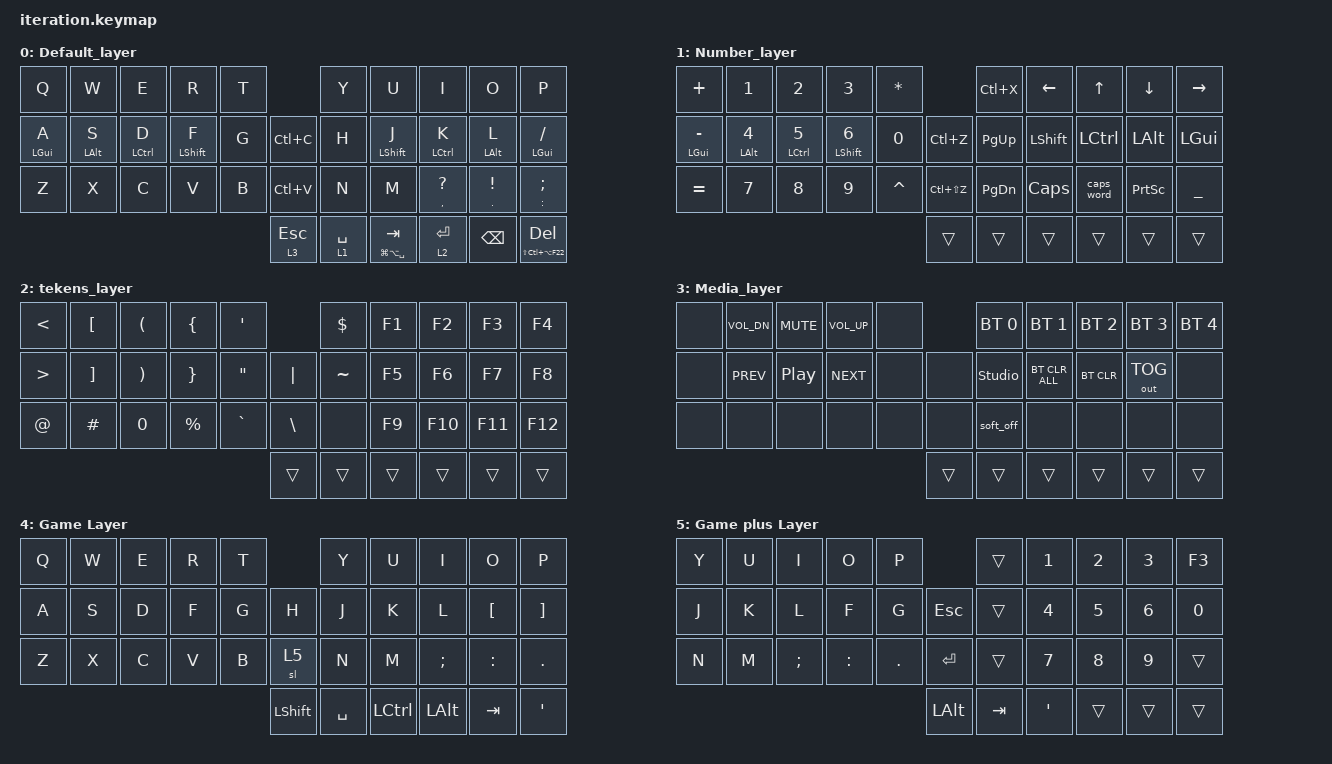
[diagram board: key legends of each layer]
#include <behaviors.dtsi>
#include <dt-bindings/zmk/bt.h>
#include <dt-bindings/zmk/keys.h>
#include <dt-bindings/zmk/outputs.h>

&lt {
    quick-tap-ms = <250>;
    flavor = "tap-preferred";
};

&mt {
    flavor = "tap-preferred";
    quick-tap-ms = <250>;
};

/ {
    combos {
        compatible = "zmk,combos";

        combo_togg_game {
            timeout-ms = <50>;
            key-positions = <35 36 37>;
            bindings = <&tog 4>;
            layers = <0 4>;
        };
    };

    keymap {
        compatible = "zmk,keymap";

        Default_layer {
            display-name = "Default_layer";

            // 
            //    | Pinky | Ring  | Middle    | Index   | Inner | screen |                                    | Inner | Index   | Middle    | Ring  | Pinky   |
            //    | ----- | ----- | --------- | ------- | ----- | ------ |                                    | ----- | ------- | --------- | ----- | ------- |
            //    | q     | w     | e         | r       | t     |        |                                    | y     | u       | i         | o     | p       |
            //    | a/gui | s/alt | d/control | f/shift | g     | copy   |                                    | h     | j/shift | k/control | l/alt | "/"/gui |
            //    | z     | x     | c         | v       | b     | paste  |                                    | n     | m       | ,/?       | ./!   | :/;     |
            //                 | Near            | Middle          | Far |                     | Far          | Middle    | Near       |
            //                 | Esc/Media layer | Space/Num layer | Tab/command |             | enter/tekens | Backspace | Del/magic  |

            bindings = <
&kp Q       &kp W       &kp E        &kp R        &kp T                                                                                                              &kp Y  &kp U        &kp I            &kp O            &kp P
&mt LGUI A  &mt LALT S  &mt LCTRL D  &mt LSHFT F  &kp G  &kp LC(C)                                                                                                   &kp H  &mt LSHFT J  &mt LCTRL K      &mt LALT L       &mt LGUI SLASH
&kp Z       &kp X       &kp C        &kp V        &kp B  &kp LC(V)                                                                                                   &kp N  &kp M        &mt COMMA QMARK  &mt PERIOD EXCL  &mt COLON SEMI
                                                                    &lt 3 ESC  &lt 1 SPACE  &mt LG(LA(SPACE)) TAB  &lt 2 ENTER  &kp BSPC  &mt LS(LC(LA(F22))) DEL
            >;
        };

        Number_nav_layer {
            display-name = "Number_layer";

            // 
            //    | Pinky | Ring  | Middle    | Index   | Inner | screen |                                  | Inner  | Index   | Middle  | Ring  | Pinky |
            //    | ----- | ----- | --------- | ------- | ----- | ------ |                                  | ------ | ------- | ------- | ----- | ----- |
            //    | +     | 1     | 2         | 3       | *     |        |                                  | cut    | left    | up      | down  | right |
            //    | -/gui | 4/alt | 5/control | 6/shift | .     | undo   |                                  | pgup   | shift   | control | alt   | gui   |
            //    | =     | 7     | 8         | 9       | ^     | redo   |                                  | pgdown | C_lock  | C_word  |prtscrn| _     |
            //                 | Near            | Middle          | Far       |             | Far          | Middle    | Near      |
            //                 | Esc/Media layer | Space/Num layer | Tab/magic |             | enter/tekens | Backspace | Del/magic |

            bindings = <
&kp PLUS        &kp N1       &kp N2        &kp N3        &kp STAR                                                                  &kp LC(X)  &kp LEFT   &kp UP      &kp DOWN   &kp RIGHT
&mt LGUI MINUS  &mt LALT N4  &mt LCTRL N5  &mt LSHFT N6  &kp N0     &kp LC(Z)                                                      &kp PG_UP  &kp LSHFT  &kp LCTRL   &kp LALT   &kp LGUI
&kp EQUAL       &kp N7       &kp N8        &kp N9        &kp CARET  &kp LC(LS(Z))                                                  &kp PG_DN  &kp CAPS   &caps_word  &kp PSCRN  &kp UNDERSCORE
                                                                                   &trans  &trans  &trans  &trans  &trans  &trans
            >;
        };

        tekens_layer {
            display-name = "tekens_layer";

            // 
            //    | Pinky | Ring  | Middle | Index   | Inner | screen |                                   | Inner | Index   | Middle    | Ring  | Pinky   |
            //    | ----- | ----- | ------ | ------- | ----- | ------ |                                   | ----- | ------- | --------- | ----- | ------- |
            //    | <     | [     | (      | {       | '     |        |                                   |       | f1      | f2        | f3    | f4      |
            //    | >     | ]     | )      | }       | "     | |      |                                   | ~     | f5      | f6        | f7    | f8      |
            //    | @     | #     | $      | %       | `     | \      |                                   |       | f9      | f10       | f11   | f12     |
            //                 | Near            | Middle          | Far         |         | Far          | Middle    | Near       |
            //                 | Esc/Media layer | Space/Num layer | Tab/command |         | enter/tekens | Backspace | Del/magic  |

            bindings = <
&kp LT  &kp LBKT  &kp LPAR  &kp LBRC   &kp APOS                                                             &kp DOLLAR  &kp F1  &kp F2   &kp F3   &kp F4
&kp GT  &kp RBKT  &kp RPAR  &kp RBRC   &kp DQT    &kp PIPE                                                  &kp TILDE   &kp F5  &kp F6   &kp F7   &kp F8
&kp AT  &kp HASH  &kp N0    &kp PRCNT  &kp GRAVE  &kp BSLH                                                  &none       &kp F9  &kp F10  &kp F11  &kp F12
                                                            &trans  &trans  &trans  &trans  &trans  &trans
            >;
        };

        Media_layer {
            display-name = "Media_layer";

            // 
            //    | Pinky | Ring        | Middle     | Index     | Inner | screen |                                       | Inner      | Index      | Middle | Ring         | Pinky  |
            //    | ----- | -----       | ------     | -------   | ----- | ------ |                                       | ---------- | ---------- | ------ | ------------ | ------ |
            //    |       | volume down | mute       | volume up |       |        |                                       | Bt1        | Bt2        | Bt3    | Bt4          | Bt5    |
            //    |       | previous    | Play/pause | Next      |       |        |                                       | ZMK unlock | bt clr all | bt clr | Outpt toggle |        |
            //    |       |             |            |           |       |        |                                       | Soft_off   |            |        |              |        |
            //                                | Near            | Middle          | Far          |         | Far          | Middle    | Near       |
            //                                | Esc/Media layer | Space/Num layer | Tab//command |         | enter/tekens | Backspace | Del/magic  |

            bindings = <
&none  &kp C_VOL_DN  &kp C_MUTE  &kp C_VOL_UP  &none                                                         &bt BT_SEL 0    &bt BT_SEL 1    &bt BT_SEL 2  &bt BT_SEL 3  &bt BT_SEL 4
&none  &kp C_PREV    &kp C_PP    &kp C_NEXT    &none  &none                                                  &studio_unlock  &bt BT_CLR_ALL  &bt BT_CLR    &out OUT_TOG  &none
&none  &none         &none       &none         &none  &none                                                  &soft_off       &none           &none         &none         &none
                                                             &trans  &trans  &trans  &trans  &trans  &trans
            >;
        };

        Game_layer {
            display-name = "Game Layer";

            // 
            //    | Pinky | Ring  | Middle    | Index   | Inner | screen |                       | Inner | Index   | Middle    | Ring  | Pinky |
            //    | ----- | ----- | --------- | ------- | ----- | ------ |                       | ----- | ------- | --------- | ----- | ----- |
            //    | q     | w     | e         | r       | t     |        |                       | y     | u       | i         | o     | p     |
            //    | a     | s     | d         | f       | g     | h      |                       | j     | k       | l         | [     | ]     |
            //    | z     | x     | c         | v       | b     | Game+  |                       | n     | m       | ;         | :     | .     |
            //                                      | Near  | Middle | Far  |               | Far | Middle | Near |
            //                                      | shift |  Space | ctrl |               | alt | tab    | '    |

            bindings = <
&kp Q  &kp W  &kp E  &kp R  &kp T                                                                       &kp Y  &kp U  &kp I     &kp O      &kp P
&kp A  &kp S  &kp D  &kp F  &kp G  &kp H                                                                &kp J  &kp K  &kp L     &kp LBKT   &kp RBKT
&kp Z  &kp X  &kp C  &kp V  &kp B  &sl 5                                                                &kp N  &kp M  &kp SEMI  &kp COLON  &kp PERIOD
                                          &kp LSHFT  &kp SPACE  &kp LCTRL  &kp LALT  &kp TAB  &kp APOS
            >;
        };

        Game_plus_layer {
            display-name = "Game plus Layer";

            // 
            //    | Pinky | Ring  | Middle    | Index   | Inner | screen |                       | Inner | Index   | Middle    | Ring  | Pinky |
            //    | ----- | ----- | --------- | ------- | ----- | ------ |                       | ----- | ------- | --------- | ----- | ----- |
            //    | y     | u     | i         | o       | p     |        |                       |       |         |           |       |       |
            //    | j     | k     | l         | [       | ]     | esc    |                       |       |         |           |       |       |
            //    | n     | m     | ;         | :       | .     | enter  |                       |       |         |           |       |       |
            //                                      | Near | Middle | Far |               | Far | Middle | Near |
            //                                      | alt  | tab    | '   |               |     |        |      |

            bindings = <
&kp Y  &kp U  &kp I     &kp O      &kp P                                                                       &trans  &kp NUMBER_1  &kp NUMBER_2  &kp NUMBER_3  &kp F3
&kp J  &kp K  &kp L     &kp F      &kp G       &kp ESC                                                         &trans  &kp NUMBER_4  &kp N5        &kp NUMBER_6  &kp N0
&kp N  &kp M  &kp SEMI  &kp COLON  &kp PERIOD  &kp ENTER                                                       &trans  &kp N7        &kp N8        &kp N9        &trans
                                                          &kp LALT  &kp TAB  &kp APOS  &trans  &trans  &trans
            >;
        };
    };
};
